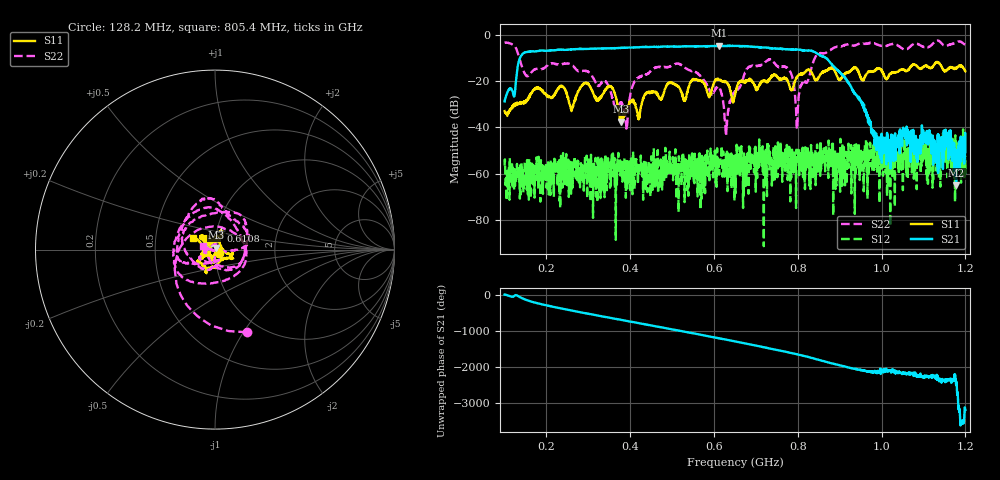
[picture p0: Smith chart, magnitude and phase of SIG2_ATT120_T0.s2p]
# Hz S DB R 50
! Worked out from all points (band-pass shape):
!   1601 points, 100 MHz to 1.2 GHz, reference 50 ohm
!   highest |S21| = -4.76 dB at 611.5 MHz (marker M1); lowest = -65.1 dB at 1.178 GHz (marker M2)
!   |S21| within 3 dB of the highest: 146.9 MHz to 842.9 MHz (696 MHz wide, 141 % of centre)
!   lowest |S11| = -37.6 dB at 377.8 MHz (marker M3), VSWR 1.03, Z = 50.8 + j1.04 ohm
!   |S11| at or under -10 dB: start of sweep to end of sweep
!   |S22| runs from -43.9 to -2.5 dB; largest |S21 - S12| = 0.58
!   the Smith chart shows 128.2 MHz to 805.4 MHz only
!   S11 on the Smith chart (normalised r, x): 128.2 MHz: 1.05, -0.04; 610.8 MHz: 1.04, +0.22; 805.4 MHz: 0.78, +0.10
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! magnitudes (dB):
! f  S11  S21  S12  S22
! 100 MHz  -33.0  -28.8  -56.5  -3.5
! 128.2 MHz  -30.2  -17.9  -61.2  -6.1
! 152.9 MHz  -28.6  -7.4  -66.9  -17.7
! 283.6 MHz  -22.1  -6.2  -58.6  -15.8
! 355.1 MHz  -22.6  -5.9  -57.7  -25.8
! 377.8 MHz  -37.6  -5.7  -55.7  -29.4
! 390.8 MHz  -31.7  -5.6  -57.2  -40.6
! 411.4 MHz  -30.1  -5.5  -59.6  -20.0
! 467.1 MHz  -26.4  -5.2  -57.1  -13.9
! 610.8 MHz  -19.4  -4.9  -53.2  -22.5
! 611.5 MHz  -19.3  -4.8  -55.1  -22.4
! 629.4 MHz  -20.4  -4.8  -53.2  -41.4
! 650 MHz  -26.1  -4.8  -66.0  -24.8
! 733.2 MHz  -18.9  -5.7  -50.5  -10.7
! 780.6 MHz  -22.4  -6.3  -58.6  -15.5
! 797.8 MHz  -18.5  -6.4  -54.8  -40.8
! 805.4 MHz  -17.3  -6.5  -55.2  -23.1
! 833.6 MHz  -16.5  -6.9  -51.0  -13.6
! 1.017 GHz  -17.5  -48.2  -49.9  -4.4
! 1.154 GHz  -15.8  -42.4  -46.0  -4.8
! 1.178 GHz  -14.4  -65.1  -55.2  -3.4
! 1.2 GHz  -15.8  -50.8  -52.4  -4.4
